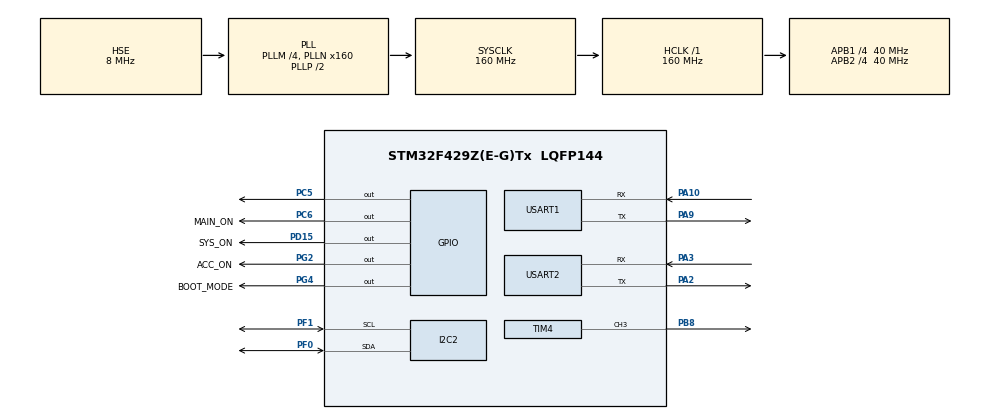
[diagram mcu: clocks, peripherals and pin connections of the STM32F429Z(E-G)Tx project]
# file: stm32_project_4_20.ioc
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I2C2.I2C_Mode=I2C_Fast
Mcu.Family=STM32F4
Mcu.Name=STM32F429Z(E-G)Tx
Mcu.Package=LQFP144
NVIC.PriorityGroup=NVIC_PRIORITYGROUP_4
NVIC.USART2_IRQn=true\:0\:0\:false\:false\:true\:true\:false\:true
PA10.Mode=Asynchronous
PA10.Signal=USART1_RX
PA13.Mode=JTAG_5_pins
PA13.Signal=SYS_JTMS-SWDIO
PA14.Mode=JTAG_5_pins
PA14.Signal=SYS_JTCK-SWCLK
PA15.Mode=JTAG_5_pins
PA15.Signal=SYS_JTDI
PA2.Mode=Asynchronous
PA2.Signal=USART2_TX
PA3.Mode=Asynchronous
PA3.Signal=USART2_RX
PA9.Mode=Asynchronous
PA9.Signal=USART1_TX
PB3.Mode=JTAG_5_pins
PB3.Signal=SYS_JTDO-SWO
PB4.Mode=JTAG_5_pins
PB4.Signal=SYS_JTRST
PB8.Signal=S_TIM4_CH3
PC5.Signal=GPIO_Output
PC6.GPIO_Label=MAIN_ON
PC6.GPIO_Speed=GPIO_SPEED_FREQ_HIGH
PC6.PinState=GPIO_PIN_SET
PC6.Signal=GPIO_Output
PD15.GPIO_Label=SYS_ON
PD15.GPIO_Speed=GPIO_SPEED_FREQ_HIGH
PD15.PinState=GPIO_PIN_SET
PD15.Signal=GPIO_Output
PF0.Mode=I2C
PF0.Signal=I2C2_SDA
PF1.Mode=I2C
PF1.Signal=I2C2_SCL
PG2.GPIO_Label=ACC_ON
PG2.PinState=GPIO_PIN_SET
PG2.Signal=GPIO_Output
PG4.GPIO_Label=BOOT_MODE
PG4.Signal=GPIO_Output
PH0/OSC_IN.Mode=HSE-External-Oscillator
PH0/OSC_IN.Signal=RCC_OSC_IN
PH1/OSC_OUT.Mode=HSE-External-Oscillator
PH1/OSC_OUT.Signal=RCC_OSC_OUT
ProjectManager.HeapSize=0x200
ProjectManager.StackSize=0x400
ProjectManager.TargetToolchain=STM32CubeIDE
RCC.48MHZClocksFreq_Value=80000000
RCC.AHBFreq_Value=160000000
RCC.APB1CLKDivider=RCC_HCLK_DIV4
RCC.APB1Freq_Value=40000000
RCC.APB1TimFreq_Value=80000000
RCC.APB2CLKDivider=RCC_HCLK_DIV4
RCC.APB2Freq_Value=40000000
RCC.APB2TimFreq_Value=80000000
RCC.CortexFreq_Value=160000000
RCC.HCLKFreq_Value=160000000
RCC.HSE_VALUE=8000000
RCC.HSI_VALUE=16000000
RCC.LSE_VALUE=32768
RCC.PLLM=4
RCC.PLLN=160
RCC.PLLSourceVirtual=RCC_PLLSOURCE_HSE
RCC.SYSCLKFreq_VALUE=160000000
RCC.SYSCLKSource=RCC_SYSCLKSOURCE_PLLCLK
RCC.VCOOutputFreq_Value=320000000
SH.S_TIM4_CH3.0=TIM4_CH3,PWM Generation3 CH3
TIM4.Channel-PWM\ Generation3\ CH3=TIM_CHANNEL_3
TIM4.Period=40
TIM4.Prescaler=799
TIM4.Pulse-PWM\ Generation3\ CH3=99
USART1.VirtualMode=VM_ASYNC
USART2.VirtualMode=VM_ASYNC
board=custom

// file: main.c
/* USER CODE BEGIN Header */
/**
 ******************************************************************************
 * @file           : main.c
 * @brief          : Main program body
 ******************************************************************************
 * @attention
 *
 * Copyright (c) 2022 STMicroelectronics.
 * All rights reserved.
 *
 * This software is licensed under terms that can be found in the LICENSE file
 * in the root directory of this software component.
 * If no LICENSE file comes with this software, it is provided AS-IS.
 *
 ******************************************************************************
 */
/* USER CODE END Header */
#include "main.h"

/* USER CODE BEGIN Includes */
#include "rb.h"
#include "calculateFunction.h"

/* USER CODE END Includes */

 I2C_HandleTypeDef hi2c2;

TIM_HandleTypeDef htim4;

UART_HandleTypeDef huart1;
UART_HandleTypeDef huart2;

/* USER CODE BEGIN PV */
RingFifo_t gtUart2Fifo;
/* USER CODE END PV */

void SystemClock_Config(void);
static void MX_GPIO_Init(void);
static void MX_TIM4_Init(void);
static void MX_USART1_UART_Init(void);
static void MX_USART2_UART_Init(void);
static void MX_I2C2_Init(void);

/* USER CODE BEGIN 0 */
#ifdef __GNUC__

#define PUTCHAR_PROTOTYPE int __io_putchar(int ch)
#else
#define PUTCHAR_PROTOTYPE int fputc(int ch, FILE *f)
#endif

PUTCHAR_PROTOTYPE {
	if (ch == '\n')
		HAL_UART_Transmit(&huart1, (uint8_t*) "\r", 1, 0xFFFF);
		HAL_UART_Transmit(&huart1, (uint8_t*) &ch, 1, 0xFFFF);

	return ch;
}

/* USER CODE END 0 */

int main(void)
{
  /* USER CODE BEGIN 1 */

    uint16_t AT24C256C_addr = 0xA0;
    uint8_t T_buffer[65];
    uint8_t R_buffer[65];

    uint8_t testsss_write[] = {0x3};
    uint8_t readBuffer[16];
    uint8_t writteBuffer[16] = {0x05, 0x06, 0x07, 0x08, 0x09, 0x05, 0x06, 0x07, 0x08, 0x09, 0x05, 0x06, 0x07, 0x08, 0x09, 0x05};
    T_buffer[64] = 0x00;
    R_buffer[64] = 0x00;

  /* USER CODE END 1 */

  /* MCU Configuration--------------------------------------------------------*/

  /* Reset of all peripherals, Initializes the Flash interface and the Systick. */
  HAL_Init();

  /* Configure the system clock */
  SystemClock_Config();

  /* Initialize all configured peripherals */
  MX_GPIO_Init();
  MX_TIM4_Init();
  MX_USART1_UART_Init();
  MX_USART2_UART_Init();
  MX_I2C2_Init();
  /* USER CODE BEGIN 2 */

	__HAL_UART_ENABLE_IT(&huart2, UART_IT_RXNE);
	if (RB_init(&gtUart2Fifo, 16)) {

	}

	writteBuffer[0] = 0x39;

	// Byte Write
	HAL_StatusTypeDef rets = HAL_I2C_Mem_Write(&hi2c2, AT24C256C_addr, 0x00, 1, writteBuffer, 16, 1000);
	HAL_Delay(1000);
	if (rets == HAL_OK) {
		printf("success to write!! --> %X \n", writteBuffer[0]);
	}

	// Byte Read
	HAL_StatusTypeDef ret = HAL_I2C_Mem_Read(&hi2c2, AT24C256C_addr, 0x00, 1, readBuffer, 16, 1000);
	if (ret == HAL_OK) {
		printf("success!! \n");
	}else {
		printf(" ret=%d, %ld : Fail !!!\n", ret, hi2c2.ErrorCode );
	}

	printf("%02X %02X %02X %02X %02X %02X %02X %02X %02X %02X %02X %02X %02X %02X %02X %02X \n",
			readBuffer[0], readBuffer[1], readBuffer[2], readBuffer[3], readBuffer[4],
			readBuffer[5], readBuffer[6], readBuffer[7], readBuffer[8], readBuffer[9],
			readBuffer[10], readBuffer[11], readBuffer[12], readBuffer[13], readBuffer[14],
			readBuffer[15]);

	HAL_Delay(1000);

  /* USER CODE END 2 */

  /* Infinite loop */
  /* USER CODE BEGIN WHILE */

	uint8_t ch;
	int compareTempData = 0;

	while (1) {

//#if 0
		if (!RB_isempty(&gtUart2Fifo)) {	//RB_isempty -> ringbuffer empty
			ch = RB_read(&gtUart2Fifo);
			printf("%X \n", ch);

			if (compare(ch, compareTempData))	compareTempData++;

			if (compareTempData == 5) {

				for (int i = 0; i < 503; i++) {
					uint8_t transmitDatas = returnTransmitData(i);
					printf("--> %X \n", transmitDatas);
					HAL_UART_Transmit(&huart2, (uint8_t*) &transmitDatas, 1, 0xFFFF);
				}
				compareTempData = 0;
			}

		}

		HAL_TIM_PWM_Start(&htim4, TIM_CHANNEL_3);

//#endif

    /* USER CODE END WHILE */

	}
}

void SystemClock_Config(void)
{
  RCC_OscInitTypeDef RCC_OscInitStruct = {0};
  RCC_ClkInitTypeDef RCC_ClkInitStruct = {0};

  /** Configure the main internal regulator output voltage
  */
  __HAL_RCC_PWR_CLK_ENABLE();
  __HAL_PWR_VOLTAGESCALING_CONFIG(PWR_REGULATOR_VOLTAGE_SCALE1);

  /** Initializes the RCC Oscillators according to the specified parameters
  * in the RCC_OscInitTypeDef structure.
  */
  RCC_OscInitStruct.OscillatorType = RCC_OSCILLATORTYPE_HSE;
  RCC_OscInitStruct.HSEState = RCC_HSE_ON;
  RCC_OscInitStruct.PLL.PLLState = RCC_PLL_ON;
  RCC_OscInitStruct.PLL.PLLSource = RCC_PLLSOURCE_HSE;
  RCC_OscInitStruct.PLL.PLLM = 4;
  RCC_OscInitStruct.PLL.PLLN = 160;
  RCC_OscInitStruct.PLL.PLLP = RCC_PLLP_DIV2;
  RCC_OscInitStruct.PLL.PLLQ = 4;
  if (HAL_RCC_OscConfig(&RCC_OscInitStruct) != HAL_OK)
  {
    Error_Handler();
  }

  /** Initializes the CPU, AHB and APB buses clocks
  */
  RCC_ClkInitStruct.ClockType = RCC_CLOCKTYPE_HCLK|RCC_CLOCKTYPE_SYSCLK
                              |RCC_CLOCKTYPE_PCLK1|RCC_CLOCKTYPE_PCLK2;
  RCC_ClkInitStruct.SYSCLKSource = RCC_SYSCLKSOURCE_PLLCLK;
  RCC_ClkInitStruct.AHBCLKDivider = RCC_SYSCLK_DIV1;
  RCC_ClkInitStruct.APB1CLKDivider = RCC_HCLK_DIV4;
  RCC_ClkInitStruct.APB2CLKDivider = RCC_HCLK_DIV4;

  if (HAL_RCC_ClockConfig(&RCC_ClkInitStruct, FLASH_LATENCY_5) != HAL_OK)
  {
    Error_Handler();
  }
}

static void MX_I2C2_Init(void)
{

  hi2c2.Instance = I2C2;
  hi2c2.Init.ClockSpeed = 400000;
  hi2c2.Init.DutyCycle = I2C_DUTYCYCLE_2;
  hi2c2.Init.OwnAddress1 = 0;
  hi2c2.Init.AddressingMode = I2C_ADDRESSINGMODE_7BIT;
  hi2c2.Init.DualAddressMode = I2C_DUALADDRESS_DISABLE;
  hi2c2.Init.OwnAddress2 = 0;
  hi2c2.Init.GeneralCallMode = I2C_GENERALCALL_DISABLE;
  hi2c2.Init.NoStretchMode = I2C_NOSTRETCH_DISABLE;
  if (HAL_I2C_Init(&hi2c2) != HAL_OK)
  {
    Error_Handler();
  }

  /** Configure Analogue filter
  */
  if (HAL_I2CEx_ConfigAnalogFilter(&hi2c2, I2C_ANALOGFILTER_ENABLE) != HAL_OK)
  {
    Error_Handler();
  }

  /** Configure Digital filter
  */
  if (HAL_I2CEx_ConfigDigitalFilter(&hi2c2, 0) != HAL_OK)
  {
    Error_Handler();
  }

}

static void MX_TIM4_Init(void)
{

  TIM_MasterConfigTypeDef sMasterConfig = {0};
  TIM_OC_InitTypeDef sConfigOC = {0};

  htim4.Instance = TIM4;
  htim4.Init.Prescaler = 799;
  htim4.Init.CounterMode = TIM_COUNTERMODE_UP;
  htim4.Init.Period = 40;
  htim4.Init.ClockDivision = TIM_CLOCKDIVISION_DIV1;
  htim4.Init.AutoReloadPreload = TIM_AUTORELOAD_PRELOAD_DISABLE;
  if (HAL_TIM_PWM_Init(&htim4) != HAL_OK)
  {
    Error_Handler();
  }
  sMasterConfig.MasterOutputTrigger = TIM_TRGO_RESET;
  sMasterConfig.MasterSlaveMode = TIM_MASTERSLAVEMODE_DISABLE;
  if (HAL_TIMEx_MasterConfigSynchronization(&htim4, &sMasterConfig) != HAL_OK)
  {
    Error_Handler();
  }
  sConfigOC.OCMode = TIM_OCMODE_PWM1;
  sConfigOC.Pulse = 99;
  sConfigOC.OCPolarity = TIM_OCPOLARITY_HIGH;
  sConfigOC.OCFastMode = TIM_OCFAST_DISABLE;
  if (HAL_TIM_PWM_ConfigChannel(&htim4, &sConfigOC, TIM_CHANNEL_3) != HAL_OK)
  {
    Error_Handler();
  }
  HAL_TIM_MspPostInit(&htim4);

}

static void MX_USART1_UART_Init(void)
{

  huart1.Instance = USART1;
  huart1.Init.BaudRate = 115200;
  huart1.Init.WordLength = UART_WORDLENGTH_8B;
  huart1.Init.StopBits = UART_STOPBITS_1;
  huart1.Init.Parity = UART_PARITY_NONE;
  huart1.Init.Mode = UART_MODE_TX_RX;
  huart1.Init.HwFlowCtl = UART_HWCONTROL_NONE;
  huart1.Init.OverSampling = UART_OVERSAMPLING_16;
  if (HAL_UART_Init(&huart1) != HAL_OK)
  {
    Error_Handler();
  }

}

static void MX_USART2_UART_Init(void)
{

  huart2.Instance = USART2;
  huart2.Init.BaudRate = 115200;
  huart2.Init.WordLength = UART_WORDLENGTH_8B;
  huart2.Init.StopBits = UART_STOPBITS_1;
  huart2.Init.Parity = UART_PARITY_NONE;
  huart2.Init.Mode = UART_MODE_TX_RX;
  huart2.Init.HwFlowCtl = UART_HWCONTROL_NONE;
  huart2.Init.OverSampling = UART_OVERSAMPLING_16;
  if (HAL_UART_Init(&huart2) != HAL_OK)
  {
    Error_Handler();
  }

}

static void MX_GPIO_Init(void)
{
  GPIO_InitTypeDef GPIO_InitStruct = {0};

  /* GPIO Ports Clock Enable */
  __HAL_RCC_GPIOF_CLK_ENABLE();
  __HAL_RCC_GPIOH_CLK_ENABLE();
  __HAL_RCC_GPIOA_CLK_ENABLE();
  __HAL_RCC_GPIOC_CLK_ENABLE();
  __HAL_RCC_GPIOD_CLK_ENABLE();
  __HAL_RCC_GPIOG_CLK_ENABLE();
  __HAL_RCC_GPIOB_CLK_ENABLE();

  /*Configure GPIO pin Output Level */
  HAL_GPIO_WritePin(GPIOC, GPIO_PIN_5, GPIO_PIN_RESET);

  /*Configure GPIO pin Output Level */
  HAL_GPIO_WritePin(SYS_ON_GPIO_Port, SYS_ON_Pin, GPIO_PIN_SET);

  /*Configure GPIO pin Output Level */
  HAL_GPIO_WritePin(ACC_ON_GPIO_Port, ACC_ON_Pin, GPIO_PIN_SET);

  /*Configure GPIO pin Output Level */
  HAL_GPIO_WritePin(BOOT_MODE_GPIO_Port, BOOT_MODE_Pin, GPIO_PIN_RESET);

  /*Configure GPIO pin Output Level */
  HAL_GPIO_WritePin(MAIN_ON_GPIO_Port, MAIN_ON_Pin, GPIO_PIN_SET);

  /*Configure GPIO pin : PC5 */
  GPIO_InitStruct.Pin = GPIO_PIN_5;
  GPIO_InitStruct.Mode = GPIO_MODE_OUTPUT_PP;
  GPIO_InitStruct.Pull = GPIO_NOPULL;
  GPIO_InitStruct.Speed = GPIO_SPEED_FREQ_LOW;
  HAL_GPIO_Init(GPIOC, &GPIO_InitStruct);

  /*Configure GPIO pin : SYS_ON_Pin */
  GPIO_InitStruct.Pin = SYS_ON_Pin;
  GPIO_InitStruct.Mode = GPIO_MODE_OUTPUT_PP;
  GPIO_InitStruct.Pull = GPIO_NOPULL;
  GPIO_InitStruct.Speed = GPIO_SPEED_FREQ_HIGH;
  HAL_GPIO_Init(SYS_ON_GPIO_Port, &GPIO_InitStruct);

  /*Configure GPIO pins : ACC_ON_Pin BOOT_MODE_Pin */
  GPIO_InitStruct.Pin = ACC_ON_Pin|BOOT_MODE_Pin;
  GPIO_InitStruct.Mode = GPIO_MODE_OUTPUT_PP;
  GPIO_InitStruct.Pull = GPIO_NOPULL;
  GPIO_InitStruct.Speed = GPIO_SPEED_FREQ_LOW;
  HAL_GPIO_Init(GPIOG, &GPIO_InitStruct);

  /*Configure GPIO pin : MAIN_ON_Pin */
  GPIO_InitStruct.Pin = MAIN_ON_Pin;
  GPIO_InitStruct.Mode = GPIO_MODE_OUTPUT_PP;
  GPIO_InitStruct.Pull = GPIO_NOPULL;
  GPIO_InitStruct.Speed = GPIO_SPEED_FREQ_HIGH;
  HAL_GPIO_Init(MAIN_ON_GPIO_Port, &GPIO_InitStruct);

}

/* USER CODE BEGIN 4 */
void HAL_UART_RxCpltCallback(UART_HandleTypeDef *UartHandle) {
	uint8_t rx;

	if (UartHandle->Instance == USART2) {
		rx = (uint8_t) (UartHandle->Instance->DR & (uint8_t) 0x00FF);
		RB_write(&gtUart2Fifo, rx);
	}
}
/* USER CODE END 4 */

void Error_Handler(void)
{
	__disable_irq();
	while (1) {
	}
}
